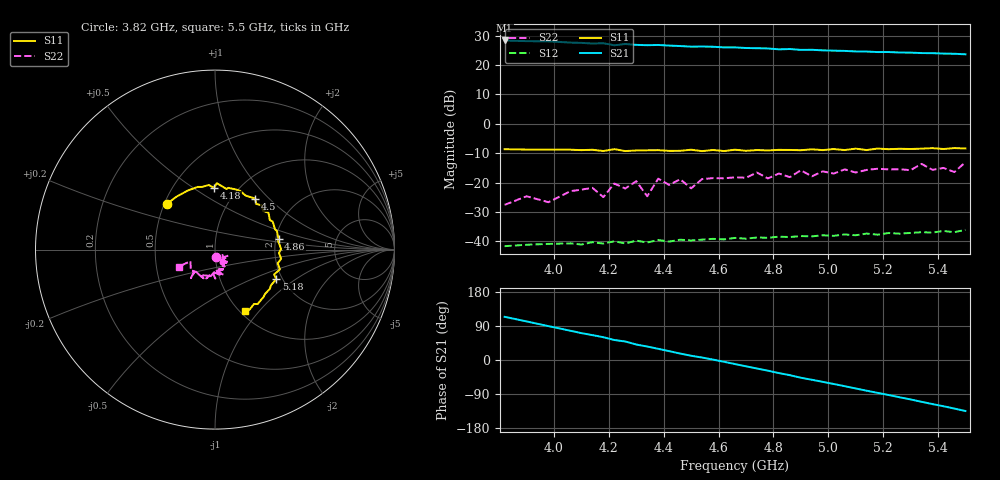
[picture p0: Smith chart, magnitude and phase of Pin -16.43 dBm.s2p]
! RsaToolbox (C) 2015 Rohde & Schwarz America
! Number of points: 40
! Number of ports: 2
! Balanced ports?: No
# Hz S RI R 50
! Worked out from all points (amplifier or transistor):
!   40 points, 3.82 GHz to 5.5 GHz, reference 50 ohm
!   highest |S21| = 28.3 dB at 3.82 GHz (marker M1)
!   |S21| within 3 dB of that: start of sweep to 4.816 GHz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
!   unconditionally stable (mu >= 1): start of sweep to end of sweep
!   at 4.18 GHz: K = 2.15, MAG = 28.0 dB, |S12| = -40.7 dB
!   at 4.74 GHz: K = 1.96, MAG = 26.5 dB, |S12| = -38.6 dB
!   at 5.5 GHz: K = 1.75, MAG = 24.8 dB, |S12| = -36.0 dB
!   S11 on the Smith chart (normalised r, x): 3.82 GHz: 0.52, +0.31; 4.18 GHz: 0.78, +0.61; 4.5 GHz: 1.27, +0.83; 4.86 GHz: 2.07, +0.27; 5.18 GHz: 1.86, -0.72; 5.5 GHz: 1.05, -0.84
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3.82e9  -0.266 0.2567  -10.58 23.8  0.00292 0.00778  0.00603 -0.0414
3.9e9  -0.2122 0.2962  -5.186 24.82  0.00436 0.00762  0.0192 -0.0553
3.98e9  -0.1508 0.3294  0.2776 25.1  0.00571 0.00707  0.0395 -0.0245
4.1e9  -0.072 0.3492  7.747 22.42  0.00721 0.00517  0.0289 -0.0703
4.18e9  -0.00513 0.3442  11.66 20.29  0.00822 0.00411  0.00024 -0.0568
4.22e9  0.00949 0.3701  13.04 17.17  0.00936 0.0037  0.0622 -0.0736
4.26e9  0.0649 0.3375  14.93 17.07  0.00877 0.00295  0.0296 -0.0736
4.3e9  0.0734 0.344  16.57 14.33  0.01 0.00238  0.0781 -0.0711
4.38e9  0.1379 0.3283  19 10.75  0.0106 0.000637  0.0528 -0.1041
4.5e9  0.2241 0.2845  20.05 3.969  0.0103 -0.00168  0.0434 -0.0672
4.58e9  0.2605 0.2463  20.37 0.3638  0.0106 -0.00332  0.0561 -0.1052
4.66e9  0.2982 0.2057  19.5 -3.691  0.0103 -0.00501  0.0526 -0.1112
4.78e9  0.334 0.1134  16.8 -9.001  0.00827 -0.00802  0.00897 -0.1174
4.82e9  0.3448 0.1041  15.15 -10.41  0.00862 -0.00843  0.0265 -0.1402
4.86e9  0.3544 0.0573  14.28 -11.99  0.00716 -0.0095  -0.0145 -0.123
4.9e9  0.352 0.047  12.34 -13.12  0.0071 -0.0101  0.00182 -0.162
4.94e9  0.3681 0.00356  11.1 -14.27  0.00591 -0.0107  -0.00687 -0.1276
5.06e9  0.3493 -0.0761  6.173 -16.17  0.00319 -0.0128  -0.0489 -0.1607
5.18e9  0.3411 -0.1652  0.9406 -16.51  0.000441 -0.013  -0.0635 -0.16
5.22e9  0.3118 -0.1984  -0.6738 -16.55  -0.00113 -0.0139  -0.0838 -0.145
5.38e9  0.2375 -0.3034  -7.029 -14.19  -0.00561 -0.013  -0.112 -0.1213
5.5e9  0.1649 -0.3429  -10.64 -10.79  -0.00908 -0.0129  -0.2011 -0.0947
